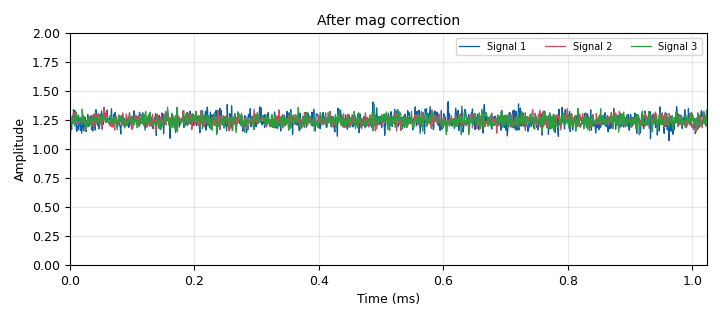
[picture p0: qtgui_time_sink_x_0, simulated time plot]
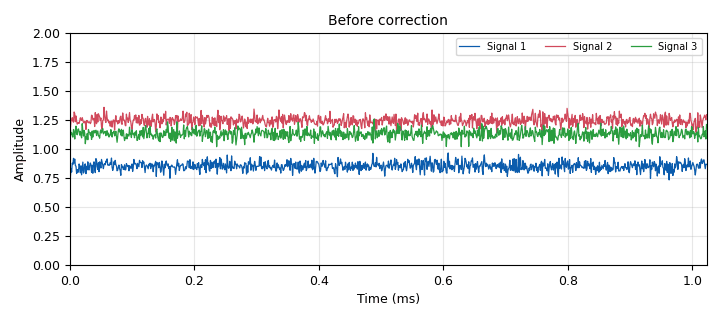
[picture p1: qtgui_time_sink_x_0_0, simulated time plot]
options:
  parameters:
    generate_options: qt_gui
    id: run_magnitude_equalization_test
    output_language: python
    title: Magnitude equalization test
  states: {}

blocks:
- name: noise_amplitude
  id: variable
  parameters:
    value: '0.05'
  states: {}
- name: samp_rate
  id: variable
  parameters:
    value: 1e6
  states: {}
- name: analog_const_source_x_0
  id: analog_const_source_x
  parameters:
    const: '0'
    type: float
  states: {}
- name: analog_const_source_x_0_0
  id: analog_const_source_x
  parameters:
    const: '0'
    type: float
  states: {}
- name: analog_const_source_x_0_0_0
  id: analog_const_source_x
  parameters:
    const: '0'
    type: float
  states: {}
- name: analog_noise_source_x_0
  id: analog_noise_source_x
  parameters:
    amp: noise_amplitude
    noise_type: analog.GR_GAUSSIAN
    seed: '41209485'
    type: complex
  states: {}
- name: analog_noise_source_x_0_0
  id: analog_noise_source_x
  parameters:
    amp: noise_amplitude
    noise_type: analog.GR_GAUSSIAN
    seed: '1004034232'
    type: complex
  states: {}
- name: analog_noise_source_x_0_0_0
  id: analog_noise_source_x
  parameters:
    amp: noise_amplitude
    noise_type: analog.GR_GAUSSIAN
    seed: '1547'
    type: complex
  states: {}
- name: analog_sig_source_x_1
  id: analog_sig_source_x
  parameters:
    amp: '1'
    freq: '1000'
    offset: '0'
    phase: np.pi*(2*np.random.rand()-1)
    samp_rate: samp_rate
    type: complex
    waveform: analog.GR_COS_WAVE
  states: {}
- name: blocks_add_xx_0
  id: blocks_add_xx
  parameters:
    type: complex
  states: {}
- name: blocks_add_xx_0_0
  id: blocks_add_xx
  parameters:
    type: complex
  states: {}
- name: blocks_add_xx_0_0_0
  id: blocks_add_xx
  parameters:
    type: complex
  states: {}
- name: blocks_complex_to_mag_0
  id: blocks_complex_to_mag
  parameters: {}
  states: {}
- name: blocks_complex_to_mag_0_0
  id: blocks_complex_to_mag
  parameters: {}
  states: {}
- name: blocks_complex_to_mag_0_0_0
  id: blocks_complex_to_mag
  parameters: {}
  states: {}
- name: blocks_complex_to_mag_0_0_0_0
  id: blocks_complex_to_mag
  parameters: {}
  states: {}
- name: blocks_complex_to_mag_0_0_1
  id: blocks_complex_to_mag
  parameters: {}
  states: {}
- name: blocks_complex_to_mag_0_1
  id: blocks_complex_to_mag
  parameters: {}
  states: {}
- name: blocks_divide_xx_0_0
  id: blocks_divide_xx
  parameters:
    type: float
  states: {}
- name: blocks_divide_xx_0_0_0
  id: blocks_divide_xx
  parameters:
    type: float
  states: {}
- name: blocks_divide_xx_0_0_0_0
  id: blocks_divide_xx
  parameters:
    type: float
  states: {}
- name: blocks_magphase_to_complex_0
  id: blocks_magphase_to_complex
  parameters: {}
  states: {}
- name: blocks_magphase_to_complex_0_0
  id: blocks_magphase_to_complex
  parameters: {}
  states: {}
- name: blocks_magphase_to_complex_0_0_0
  id: blocks_magphase_to_complex
  parameters: {}
  states: {}
- name: blocks_max_xx_0
  id: blocks_max_xx
  parameters:
    num_inputs: '3'
    type: float
  states: {}
- name: blocks_moving_average_xx_0
  id: blocks_moving_average_xx
  parameters:
    length: int(1e3)
    max_iter: '4000'
    scale: '0.001'
    type: float
  states: {}
- name: blocks_moving_average_xx_0_0
  id: blocks_moving_average_xx
  parameters:
    length: int(1e3)
    max_iter: '4000'
    scale: '0.001'
    type: float
  states: {}
- name: blocks_moving_average_xx_0_0_0
  id: blocks_moving_average_xx
  parameters:
    length: int(1e3)
    max_iter: '4000'
    scale: '0.001'
    type: float
  states: {}
- name: blocks_multiply_const_vxx_0
  id: blocks_multiply_const_vxx
  parameters:
    const: (np.random.rand()+0.5)*np.exp(1j*np.pi*(2*np.random.rand()-1))
    type: complex
  states: {}
- name: blocks_multiply_const_vxx_0_0
  id: blocks_multiply_const_vxx
  parameters:
    const: (np.random.rand()+0.5)*np.exp(1j*np.pi*(2*np.random.rand()-1))
    type: complex
  states: {}
- name: blocks_multiply_const_vxx_0_0_0
  id: blocks_multiply_const_vxx
  parameters:
    const: (np.random.rand()+0.5)*np.exp(1j*np.pi*(2*np.random.rand()-1))
    type: complex
  states: {}
- name: blocks_multiply_xx_0
  id: blocks_multiply_xx
  parameters:
    type: complex
  states: {}
- name: blocks_multiply_xx_0_0
  id: blocks_multiply_xx
  parameters:
    type: complex
  states: {}
- name: blocks_multiply_xx_0_0_0
  id: blocks_multiply_xx
  parameters:
    type: complex
  states: {}
- name: blocks_throttle_0
  id: blocks_throttle
  parameters:
    samples_per_second: samp_rate
    type: complex
  states: {}
- name: import_0
  id: import
  parameters:
    imports: import numpy as np
  states: {}
- name: qtgui_number_sink_0
  id: qtgui_number_sink
  parameters:
    avg: '0.99'
    graph_type: qtgui.NUM_GRAPH_HORIZ
    gui_hint: qtgui_tab_widget_0@1
    label1: Sig 1
    label2: Sig 2
    label3: Sig 3
    max: '2'
    min: '0'
    name: '"Before correction"'
    nconnections: '3'
    type: float
  states: {}
- name: qtgui_number_sink_0_0
  id: qtgui_number_sink
  parameters:
    avg: '0.5'
    graph_type: qtgui.NUM_GRAPH_HORIZ
    gui_hint: qtgui_tab_widget_0@1
    label1: Sig 1
    label2: Sig 2
    label3: Sig 3
    max: '2'
    min: '0'
    name: '"After mag correction"'
    nconnections: '3'
    type: float
  states: {}
- name: qtgui_tab_widget_0
  id: qtgui_tab_widget
  parameters:
    label0: Time plot
    label1: Number sink
    num_tabs: '2'
  states: {}
- name: qtgui_time_sink_x_0
  id: qtgui_time_sink_x
  parameters:
    grid: 'True'
    gui_hint: qtgui_tab_widget_0@0
    name: '"After mag correction"'
    nconnections: '3'
    size: '1024'
    srate: samp_rate
    type: float
    ymax: '2'
    ymin: '0'
  states: {}
- name: qtgui_time_sink_x_0_0
  id: qtgui_time_sink_x
  parameters:
    grid: 'True'
    gui_hint: qtgui_tab_widget_0@0
    name: '"Before correction"'
    nconnections: '3'
    size: '1024'
    srate: samp_rate
    type: float
    ymax: '2'
    ymin: '0'
  states: {}

connections:
- [analog_const_source_x_0, '0', blocks_magphase_to_complex_0, '1']
- [analog_const_source_x_0_0, '0', blocks_magphase_to_complex_0_0, '1']
- [analog_const_source_x_0_0_0, '0', blocks_magphase_to_complex_0_0_0, '1']
- [analog_noise_source_x_0, '0', blocks_add_xx_0, '0']
- [analog_noise_source_x_0_0, '0', blocks_add_xx_0_0, '0']
- [analog_noise_source_x_0_0_0, '0', blocks_add_xx_0_0_0, '0']
- [analog_sig_source_x_1, '0', blocks_throttle_0, '0']
- [blocks_add_xx_0, '0', blocks_complex_to_mag_0, '0']
- [blocks_add_xx_0, '0', blocks_multiply_xx_0, '0']
- [blocks_add_xx_0_0, '0', blocks_complex_to_mag_0_0_0, '0']
- [blocks_add_xx_0_0, '0', blocks_multiply_xx_0_0, '0']
- [blocks_add_xx_0_0_0, '0', blocks_complex_to_mag_0_0, '0']
- [blocks_add_xx_0_0_0, '0', blocks_multiply_xx_0_0_0, '0']
- [blocks_complex_to_mag_0, '0', blocks_moving_average_xx_0_0, '0']
- [blocks_complex_to_mag_0, '0', qtgui_number_sink_0, '0']
- [blocks_complex_to_mag_0, '0', qtgui_time_sink_x_0_0, '0']
- [blocks_complex_to_mag_0_0, '0', blocks_moving_average_xx_0_0_0, '0']
- [blocks_complex_to_mag_0_0, '0', qtgui_number_sink_0, '2']
- [blocks_complex_to_mag_0_0, '0', qtgui_time_sink_x_0_0, '2']
- [blocks_complex_to_mag_0_0_0, '0', blocks_moving_average_xx_0, '0']
- [blocks_complex_to_mag_0_0_0, '0', qtgui_number_sink_0, '1']
- [blocks_complex_to_mag_0_0_0, '0', qtgui_time_sink_x_0_0, '1']
- [blocks_complex_to_mag_0_0_0_0, '0', qtgui_number_sink_0_0, '1']
- [blocks_complex_to_mag_0_0_0_0, '0', qtgui_time_sink_x_0, '1']
- [blocks_complex_to_mag_0_0_1, '0', qtgui_number_sink_0_0, '2']
- [blocks_complex_to_mag_0_0_1, '0', qtgui_time_sink_x_0, '2']
- [blocks_complex_to_mag_0_1, '0', qtgui_number_sink_0_0, '0']
- [blocks_complex_to_mag_0_1, '0', qtgui_time_sink_x_0, '0']
- [blocks_divide_xx_0_0, '0', blocks_magphase_to_complex_0, '0']
- [blocks_divide_xx_0_0_0, '0', blocks_magphase_to_complex_0_0, '0']
- [blocks_divide_xx_0_0_0_0, '0', blocks_magphase_to_complex_0_0_0, '0']
- [blocks_magphase_to_complex_0, '0', blocks_multiply_xx_0, '1']
- [blocks_magphase_to_complex_0_0, '0', blocks_multiply_xx_0_0, '1']
- [blocks_magphase_to_complex_0_0_0, '0', blocks_multiply_xx_0_0_0, '1']
- [blocks_max_xx_0, '0', blocks_divide_xx_0_0, '0']
- [blocks_max_xx_0, '0', blocks_divide_xx_0_0_0, '0']
- [blocks_max_xx_0, '0', blocks_divide_xx_0_0_0_0, '0']
- [blocks_moving_average_xx_0, '0', blocks_divide_xx_0_0_0, '1']
- [blocks_moving_average_xx_0, '0', blocks_max_xx_0, '1']
- [blocks_moving_average_xx_0_0, '0', blocks_divide_xx_0_0, '1']
- [blocks_moving_average_xx_0_0, '0', blocks_max_xx_0, '0']
- [blocks_moving_average_xx_0_0_0, '0', blocks_divide_xx_0_0_0_0, '1']
- [blocks_moving_average_xx_0_0_0, '0', blocks_max_xx_0, '2']
- [blocks_multiply_const_vxx_0, '0', blocks_add_xx_0, '1']
- [blocks_multiply_const_vxx_0_0, '0', blocks_add_xx_0_0, '1']
- [blocks_multiply_const_vxx_0_0_0, '0', blocks_add_xx_0_0_0, '1']
- [blocks_multiply_xx_0, '0', blocks_complex_to_mag_0_1, '0']
- [blocks_multiply_xx_0_0, '0', blocks_complex_to_mag_0_0_0_0, '0']
- [blocks_multiply_xx_0_0_0, '0', blocks_complex_to_mag_0_0_1, '0']
- [blocks_throttle_0, '0', blocks_multiply_const_vxx_0, '0']
- [blocks_throttle_0, '0', blocks_multiply_const_vxx_0_0, '0']
- [blocks_throttle_0, '0', blocks_multiply_const_vxx_0_0_0, '0']

metadata:
  file_format: 1
